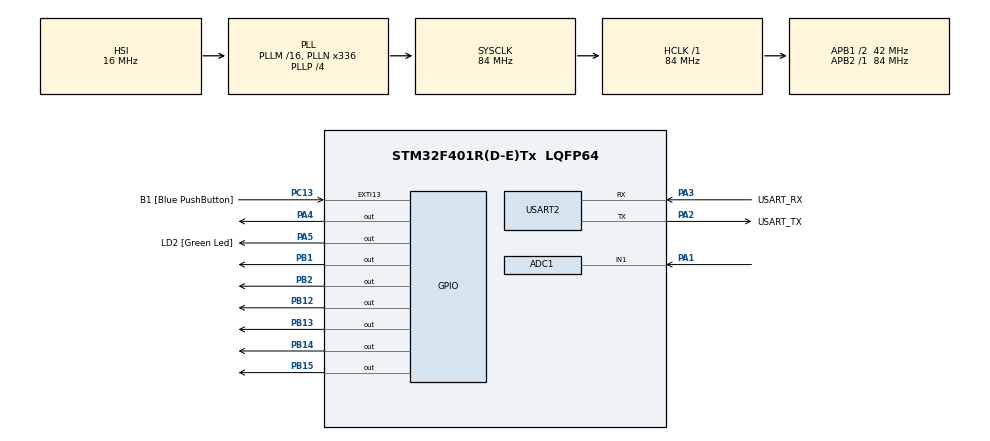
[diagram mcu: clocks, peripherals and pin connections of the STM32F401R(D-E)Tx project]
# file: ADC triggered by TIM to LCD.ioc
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ADC1.Channel-0\#ChannelRegularConversion=ADC_CHANNEL_1
ADC1.NbrOfConversionFlag=1
ADC1.Rank-0\#ChannelRegularConversion=1
ADC1.SamplingTime-0\#ChannelRegularConversion=ADC_SAMPLETIME_480CYCLES
ADC1.master=1
Mcu.Family=STM32F4
Mcu.Name=STM32F401R(D-E)Tx
Mcu.Package=LQFP64
NVIC.ADC_IRQn=true\:0\:0\:false\:false\:true\:true\:true\:true
NVIC.PriorityGroup=NVIC_PRIORITYGROUP_0
NVIC.TIM2_IRQn=true\:0\:0\:false\:false\:true\:true\:true\:true
PA1.Signal=ADCx_IN1
PA13.GPIO_Label=TMS
PA13.Mode=Serial_Wire
PA13.Signal=SYS_JTMS-SWDIO
PA14.GPIO_Label=TCK
PA14.Mode=Serial_Wire
PA14.Signal=SYS_JTCK-SWCLK
PA2.GPIO_Label=USART_TX
PA2.GPIO_Mode=GPIO_MODE_AF_PP
PA2.GPIO_PuPd=GPIO_NOPULL
PA2.GPIO_Speed=GPIO_SPEED_FREQ_LOW
PA2.Mode=Asynchronous
PA2.Signal=USART2_TX
PA3.GPIO_Label=USART_RX
PA3.GPIO_Mode=GPIO_MODE_AF_PP
PA3.GPIO_PuPd=GPIO_NOPULL
PA3.GPIO_Speed=GPIO_SPEED_FREQ_LOW
PA3.Mode=Asynchronous
PA3.Signal=USART2_RX
PA4.Signal=GPIO_Output
PA5.GPIO_Label=LD2 [Green Led]
PA5.GPIO_Mode=GPIO_MODE_OUTPUT_PP
PA5.GPIO_PuPd=GPIO_NOPULL
PA5.GPIO_Speed=GPIO_SPEED_FREQ_LOW
PA5.Signal=GPIO_Output
PB1.Signal=GPIO_Output
PB12.Signal=GPIO_Output
PB13.Signal=GPIO_Output
PB14.Signal=GPIO_Output
PB15.Signal=GPIO_Output
PB2.Signal=GPIO_Output
PB3.GPIO_Label=SWO
PB3.Signal=SYS_JTDO-SWO
PC13-ANTI_TAMP.GPIO_Label=B1 [Blue PushButton]
PC13-ANTI_TAMP.GPIO_ModeDefaultEXTI=GPIO_MODE_IT_FALLING
PC13-ANTI_TAMP.GPIO_PuPd=GPIO_NOPULL
PC13-ANTI_TAMP.Signal=GPXTI13
PC14-OSC32_IN.Mode=LSE-External-Oscillator
PC14-OSC32_IN.Signal=RCC_OSC32_IN
PC15-OSC32_OUT.Mode=LSE-External-Oscillator
PC15-OSC32_OUT.Signal=RCC_OSC32_OUT
PH0\ -\ OSC_IN.Mode=HSE-External-Clock-Source
PH0\ -\ OSC_IN.Signal=RCC_OSC_IN
PH1\ -\ OSC_OUT.Mode=HSE-External-Clock-Source
PH1\ -\ OSC_OUT.Signal=RCC_OSC_OUT
ProjectManager.HeapSize=0x200
ProjectManager.StackSize=0x400
ProjectManager.TargetToolchain=STM32CubeIDE
RCC.48MHZClocksFreq_Value=48000000
RCC.AHBFreq_Value=84000000
RCC.APB1CLKDivider=RCC_HCLK_DIV2
RCC.APB1Freq_Value=42000000
RCC.APB1TimFreq_Value=84000000
RCC.APB2Freq_Value=84000000
RCC.APB2TimFreq_Value=84000000
RCC.CortexFreq_Value=84000000
RCC.HCLKFreq_Value=84000000
RCC.HSE_VALUE=8000000
RCC.HSI_VALUE=16000000
RCC.PLLN=336
RCC.PLLP=RCC_PLLP_DIV4
RCC.PLLQ=7
RCC.SYSCLKFreq_VALUE=84000000
RCC.SYSCLKSource=RCC_SYSCLKSOURCE_PLLCLK
RCC.VCOOutputFreq_Value=336000000
SH.ADCx_IN1.0=ADC1_IN1,IN1
TIM2.AutoReloadPreload=TIM_AUTORELOAD_PRELOAD_ENABLE
TIM2.Period=84000-1
TIM2.Prescaler=1000-1
USART2.VirtualMode=VM_ASYNC
VP_TIM2_VS_ClockSourceINT.Mode=Internal
board=NUCLEO-F401RE

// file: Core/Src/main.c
/* USER CODE BEGIN Header */
/**
  ******************************************************************************
  * @file           : main.c
  * @brief          : Main program body
  ******************************************************************************
  * @attention
  *
  * Copyright (c) 2022 STMicroelectronics.
  * All rights reserved.
  *
  * This software is licensed under terms that can be found in the LICENSE file
  * in the root directory of this software component.
  * If no LICENSE file comes with this software, it is provided AS-IS.
  *
  ******************************************************************************
  */
/* USER CODE END Header */
#include "main.h"

/* USER CODE BEGIN Includes */
#include <stdio.h>
#include <string.h>
#include "PMDB16_LCD.h"
/* USER CODE END Includes */

ADC_HandleTypeDef hadc1;

TIM_HandleTypeDef htim2;

UART_HandleTypeDef huart2;

/* USER CODE BEGIN PV */
uint32_t potentiometer;
float potentiometer_volt;
char potentiometer_string[64];
/* USER CODE END PV */

void SystemClock_Config(void);
static void MX_GPIO_Init(void);
static void MX_USART2_UART_Init(void);
static void MX_ADC1_Init(void);
static void MX_TIM2_Init(void);

int main(void)
{

  /* MCU Configuration--------------------------------------------------------*/

  /* Reset of all peripherals, Initializes the Flash interface and the Systick. */
  HAL_Init();

  /* Configure the system clock */
  SystemClock_Config();

  /* Initialize all configured peripherals */
  MX_GPIO_Init();
  MX_USART2_UART_Init();
  MX_ADC1_Init();
  MX_TIM2_Init();
  /* USER CODE BEGIN 2 */
  HAL_TIM_Base_Start_IT(&htim2);
  lcd_initialize();
  lcd_backlight_ON();
  /* USER CODE END 2 */

  /* Infinite loop */
  while (1)
  {

  }
}

void SystemClock_Config(void)
{
  RCC_OscInitTypeDef RCC_OscInitStruct = {0};
  RCC_ClkInitTypeDef RCC_ClkInitStruct = {0};

  /** Configure the main internal regulator output voltage
  */
  __HAL_RCC_PWR_CLK_ENABLE();
  __HAL_PWR_VOLTAGESCALING_CONFIG(PWR_REGULATOR_VOLTAGE_SCALE2);

  /** Initializes the RCC Oscillators according to the specified parameters
  * in the RCC_OscInitTypeDef structure.
  */
  RCC_OscInitStruct.OscillatorType = RCC_OSCILLATORTYPE_HSI;
  RCC_OscInitStruct.HSIState = RCC_HSI_ON;
  RCC_OscInitStruct.HSICalibrationValue = RCC_HSICALIBRATION_DEFAULT;
  RCC_OscInitStruct.PLL.PLLState = RCC_PLL_ON;
  RCC_OscInitStruct.PLL.PLLSource = RCC_PLLSOURCE_HSI;
  RCC_OscInitStruct.PLL.PLLM = 16;
  RCC_OscInitStruct.PLL.PLLN = 336;
  RCC_OscInitStruct.PLL.PLLP = RCC_PLLP_DIV4;
  RCC_OscInitStruct.PLL.PLLQ = 7;
  if (HAL_RCC_OscConfig(&RCC_OscInitStruct) != HAL_OK)
  {
    Error_Handler();
  }

  /** Initializes the CPU, AHB and APB buses clocks
  */
  RCC_ClkInitStruct.ClockType = RCC_CLOCKTYPE_HCLK|RCC_CLOCKTYPE_SYSCLK
                              |RCC_CLOCKTYPE_PCLK1|RCC_CLOCKTYPE_PCLK2;
  RCC_ClkInitStruct.SYSCLKSource = RCC_SYSCLKSOURCE_PLLCLK;
  RCC_ClkInitStruct.AHBCLKDivider = RCC_SYSCLK_DIV1;
  RCC_ClkInitStruct.APB1CLKDivider = RCC_HCLK_DIV2;
  RCC_ClkInitStruct.APB2CLKDivider = RCC_HCLK_DIV1;

  if (HAL_RCC_ClockConfig(&RCC_ClkInitStruct, FLASH_LATENCY_2) != HAL_OK)
  {
    Error_Handler();
  }
}

static void MX_ADC1_Init(void)
{

  ADC_ChannelConfTypeDef sConfig = {0};

  /** Configure the global features of the ADC (Clock, Resolution, Data Alignment and number of conversion)
  */
  hadc1.Instance = ADC1;
  hadc1.Init.ClockPrescaler = ADC_CLOCK_SYNC_PCLK_DIV4;
  hadc1.Init.Resolution = ADC_RESOLUTION_12B;
  hadc1.Init.ScanConvMode = DISABLE;
  hadc1.Init.ContinuousConvMode = DISABLE;
  hadc1.Init.DiscontinuousConvMode = DISABLE;
  hadc1.Init.ExternalTrigConvEdge = ADC_EXTERNALTRIGCONVEDGE_NONE;
  hadc1.Init.ExternalTrigConv = ADC_SOFTWARE_START;
  hadc1.Init.DataAlign = ADC_DATAALIGN_RIGHT;
  hadc1.Init.NbrOfConversion = 1;
  hadc1.Init.DMAContinuousRequests = DISABLE;
  hadc1.Init.EOCSelection = ADC_EOC_SINGLE_CONV;
  if (HAL_ADC_Init(&hadc1) != HAL_OK)
  {
    Error_Handler();
  }

  /** Configure for the selected ADC regular channel its corresponding rank in the sequencer and its sample time.
  */
  sConfig.Channel = ADC_CHANNEL_1;
  sConfig.Rank = 1;
  sConfig.SamplingTime = ADC_SAMPLETIME_480CYCLES;
  if (HAL_ADC_ConfigChannel(&hadc1, &sConfig) != HAL_OK)
  {
    Error_Handler();
  }

}

static void MX_TIM2_Init(void)
{

  TIM_ClockConfigTypeDef sClockSourceConfig = {0};
  TIM_MasterConfigTypeDef sMasterConfig = {0};

  htim2.Instance = TIM2;
  htim2.Init.Prescaler = 1000-1;
  htim2.Init.CounterMode = TIM_COUNTERMODE_UP;
  htim2.Init.Period = 84000-1;
  htim2.Init.ClockDivision = TIM_CLOCKDIVISION_DIV1;
  htim2.Init.AutoReloadPreload = TIM_AUTORELOAD_PRELOAD_ENABLE;
  if (HAL_TIM_Base_Init(&htim2) != HAL_OK)
  {
    Error_Handler();
  }
  sClockSourceConfig.ClockSource = TIM_CLOCKSOURCE_INTERNAL;
  if (HAL_TIM_ConfigClockSource(&htim2, &sClockSourceConfig) != HAL_OK)
  {
    Error_Handler();
  }
  sMasterConfig.MasterOutputTrigger = TIM_TRGO_RESET;
  sMasterConfig.MasterSlaveMode = TIM_MASTERSLAVEMODE_DISABLE;
  if (HAL_TIMEx_MasterConfigSynchronization(&htim2, &sMasterConfig) != HAL_OK)
  {
    Error_Handler();
  }

}

static void MX_USART2_UART_Init(void)
{

  huart2.Instance = USART2;
  huart2.Init.BaudRate = 115200;
  huart2.Init.WordLength = UART_WORDLENGTH_8B;
  huart2.Init.StopBits = UART_STOPBITS_1;
  huart2.Init.Parity = UART_PARITY_NONE;
  huart2.Init.Mode = UART_MODE_TX_RX;
  huart2.Init.HwFlowCtl = UART_HWCONTROL_NONE;
  huart2.Init.OverSampling = UART_OVERSAMPLING_16;
  if (HAL_UART_Init(&huart2) != HAL_OK)
  {
    Error_Handler();
  }

}

static void MX_GPIO_Init(void)
{
  GPIO_InitTypeDef GPIO_InitStruct = {0};

  /* GPIO Ports Clock Enable */
  __HAL_RCC_GPIOC_CLK_ENABLE();
  __HAL_RCC_GPIOH_CLK_ENABLE();
  __HAL_RCC_GPIOA_CLK_ENABLE();
  __HAL_RCC_GPIOB_CLK_ENABLE();

  /*Configure GPIO pin Output Level */
  HAL_GPIO_WritePin(GPIOA, GPIO_PIN_4|LD2_Pin, GPIO_PIN_RESET);

  /*Configure GPIO pin Output Level */
  HAL_GPIO_WritePin(GPIOB, GPIO_PIN_1|GPIO_PIN_2|GPIO_PIN_12|GPIO_PIN_13
                          |GPIO_PIN_14|GPIO_PIN_15, GPIO_PIN_RESET);

  /*Configure GPIO pin : B1_Pin */
  GPIO_InitStruct.Pin = B1_Pin;
  GPIO_InitStruct.Mode = GPIO_MODE_IT_FALLING;
  GPIO_InitStruct.Pull = GPIO_NOPULL;
  HAL_GPIO_Init(B1_GPIO_Port, &GPIO_InitStruct);

  /*Configure GPIO pins : PA4 LD2_Pin */
  GPIO_InitStruct.Pin = GPIO_PIN_4|LD2_Pin;
  GPIO_InitStruct.Mode = GPIO_MODE_OUTPUT_PP;
  GPIO_InitStruct.Pull = GPIO_NOPULL;
  GPIO_InitStruct.Speed = GPIO_SPEED_FREQ_LOW;
  HAL_GPIO_Init(GPIOA, &GPIO_InitStruct);

  /*Configure GPIO pins : PB1 PB2 PB12 PB13
                           PB14 PB15 */
  GPIO_InitStruct.Pin = GPIO_PIN_1|GPIO_PIN_2|GPIO_PIN_12|GPIO_PIN_13
                          |GPIO_PIN_14|GPIO_PIN_15;
  GPIO_InitStruct.Mode = GPIO_MODE_OUTPUT_PP;
  GPIO_InitStruct.Pull = GPIO_NOPULL;
  GPIO_InitStruct.Speed = GPIO_SPEED_FREQ_LOW;
  HAL_GPIO_Init(GPIOB, &GPIO_InitStruct);

}

/* USER CODE BEGIN 4 */
void print_potentiometer(){
	potentiometer = HAL_ADC_GetValue(&hadc1);
	potentiometer_volt = potentiometer*3.3/4096.0;

	snprintf(potentiometer_string, 64, "%.3f", potentiometer_volt);

	lcd_println(potentiometer_string, 0);
	lcd_drawBar(potentiometer*80/4096.0);
}

void HAL_TIM_PeriodElapsedCallback(TIM_HandleTypeDef *htim){
	HAL_ADC_Start_IT(&hadc1);
}

void HAL_ADC_ConvCpltCallback(ADC_HandleTypeDef* hadc){
	print_potentiometer();
}
/* USER CODE END 4 */

void Error_Handler(void)
{
  __disable_irq();
  while (1)
  {
  }
}
